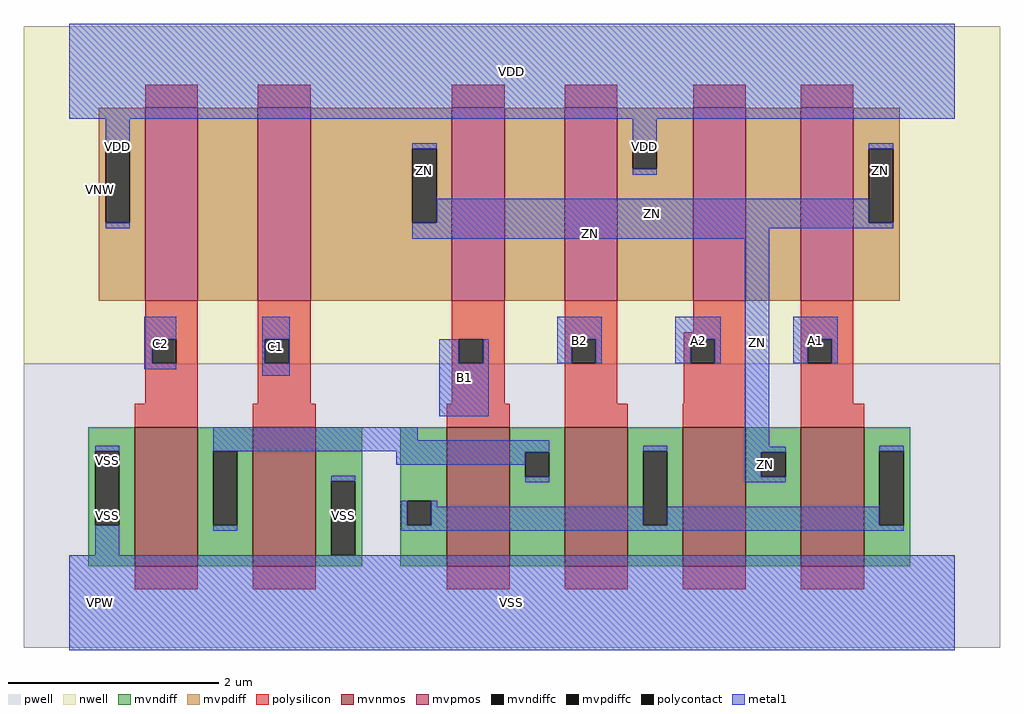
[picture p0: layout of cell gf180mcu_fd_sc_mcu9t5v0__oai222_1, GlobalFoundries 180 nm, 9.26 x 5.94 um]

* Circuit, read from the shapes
.subckt gf180mcu_fd_sc_mcu9t5v0__oai222_1 A1 A2 B1 B2 C1 C2 ZN VDD VNW VPW VSS
XM1 n1 C2 VSS VPW nfet_06v0 w=1.32u l=0.6u
XM2 VSS C1 n1 VPW nfet_06v0 w=1.32u l=0.6u
XM3 n1 B1 n2 VPW nfet_06v0 w=1.32u l=0.6u
XM4 n2 B2 n1 VPW nfet_06v0 w=1.32u l=0.6u
XM5 ZN A2 n2 VPW nfet_06v0 w=1.32u l=0.6u
XM6 n2 A1 ZN VPW nfet_06v0 w=1.32u l=0.6u
XM7 n3 C2 VDD VNW pfet_06v0 w=1.83u l=0.5u
XM8 ZN C1 n3 VNW pfet_06v0 w=1.83u l=0.5u
XM9 n4 B1 ZN VNW pfet_06v0 w=1.83u l=0.5u
XM10 VDD B2 n4 VNW pfet_06v0 w=1.83u l=0.5u
XM11 n5 A2 VDD VNW pfet_06v0 w=1.83u l=0.5u
XM12 ZN A1 n5 VNW pfet_06v0 w=1.83u l=0.5u
.ends

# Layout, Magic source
magic
tech gf180mcuD
magscale 1 10
<< nwell >>
rect -86 453 1766 1094
<< pwell >>
rect -86 -86 1766 453
<< mvnmos >>
rect 124 69 244 333
rect 348 69 468 333
rect 716 69 836 333
rect 940 69 1060 333
rect 1164 69 1284 333
rect 1388 69 1508 333
<< mvpmos >>
rect 144 573 244 939
rect 358 573 458 939
rect 726 573 826 939
rect 940 573 1040 939
rect 1184 573 1284 939
rect 1388 573 1488 939
<< mvndiff >>
rect 36 287 124 333
rect 36 147 49 287
rect 95 147 124 287
rect 36 69 124 147
rect 244 287 348 333
rect 244 147 273 287
rect 319 147 348 287
rect 244 69 348 147
rect 468 230 556 333
rect 468 90 497 230
rect 543 90 556 230
rect 468 69 556 90
rect 628 193 716 333
rect 628 147 641 193
rect 687 147 716 193
rect 628 69 716 147
rect 836 285 940 333
rect 836 239 865 285
rect 911 239 940 285
rect 836 69 940 239
rect 1060 287 1164 333
rect 1060 147 1089 287
rect 1135 147 1164 287
rect 1060 69 1164 147
rect 1284 285 1388 333
rect 1284 239 1313 285
rect 1359 239 1388 285
rect 1284 69 1388 239
rect 1508 287 1596 333
rect 1508 147 1537 287
rect 1583 147 1596 287
rect 1508 69 1596 147
<< mvpdiff >>
rect 56 861 144 939
rect 56 721 69 861
rect 115 721 144 861
rect 56 573 144 721
rect 244 573 358 939
rect 458 861 726 939
rect 458 721 651 861
rect 697 721 726 861
rect 458 573 726 721
rect 826 573 940 939
rect 1040 869 1184 939
rect 1040 823 1069 869
rect 1115 823 1184 869
rect 1040 573 1184 823
rect 1284 573 1388 939
rect 1488 861 1576 939
rect 1488 721 1517 861
rect 1563 721 1576 861
rect 1488 573 1576 721
<< mvndiffc >>
rect 49 147 95 287
rect 273 147 319 287
rect 497 90 543 230
rect 641 147 687 193
rect 865 239 911 285
rect 1089 147 1135 287
rect 1313 239 1359 285
rect 1537 147 1583 287
<< mvpdiffc >>
rect 69 721 115 861
rect 651 721 697 861
rect 1069 823 1115 869
rect 1517 721 1563 861
<< polysilicon >>
rect 144 939 244 983
rect 358 939 458 983
rect 726 939 826 983
rect 940 939 1040 983
rect 1184 939 1284 983
rect 1388 939 1488 983
rect 144 500 244 573
rect 144 454 157 500
rect 203 454 244 500
rect 144 377 244 454
rect 358 500 458 573
rect 358 454 371 500
rect 417 454 458 500
rect 358 377 458 454
rect 726 500 826 573
rect 726 454 739 500
rect 785 454 826 500
rect 726 377 826 454
rect 940 500 1040 573
rect 1184 513 1284 573
rect 940 454 953 500
rect 999 454 1040 500
rect 940 377 1040 454
rect 1166 500 1284 513
rect 1166 454 1179 500
rect 1225 454 1284 500
rect 1166 377 1284 454
rect 124 333 244 377
rect 348 333 468 377
rect 716 333 836 377
rect 940 333 1060 377
rect 1164 333 1284 377
rect 1388 500 1488 573
rect 1388 454 1401 500
rect 1447 454 1488 500
rect 1388 377 1488 454
rect 1388 333 1508 377
rect 124 25 244 69
rect 348 25 468 69
rect 716 25 836 69
rect 940 25 1060 69
rect 1164 25 1284 69
rect 1388 25 1508 69
<< polycontact >>
rect 157 454 203 500
rect 371 454 417 500
rect 739 454 785 500
rect 953 454 999 500
rect 1179 454 1225 500
rect 1401 454 1447 500
<< metal1 >>
rect 0 918 1680 1098
rect 69 861 115 918
rect 69 710 115 721
rect 651 861 697 872
rect 1069 869 1115 918
rect 1069 812 1115 823
rect 1517 861 1563 872
rect 697 721 1517 766
rect 651 710 1563 721
rect 651 690 1328 710
rect 142 500 203 542
rect 142 454 157 500
rect 142 443 203 454
rect 366 500 418 542
rect 926 500 1010 542
rect 366 454 371 500
rect 417 454 418 500
rect 366 430 418 454
rect 702 454 739 500
rect 785 454 796 500
rect 926 454 953 500
rect 999 454 1010 500
rect 1150 500 1236 542
rect 1150 454 1179 500
rect 1225 454 1236 500
rect 702 354 796 454
rect 273 308 661 333
rect 49 287 95 298
rect 49 90 95 147
rect 273 287 911 308
rect 620 285 911 287
rect 620 262 865 285
rect 273 136 319 147
rect 497 230 543 241
rect 865 228 911 239
rect 1089 287 1135 298
rect 630 147 641 193
rect 687 182 698 193
rect 687 147 1089 182
rect 1282 296 1328 690
rect 1374 500 1458 542
rect 1374 454 1401 500
rect 1447 454 1458 500
rect 1282 285 1359 296
rect 1282 239 1313 285
rect 1282 228 1359 239
rect 1537 287 1583 298
rect 1135 147 1537 182
rect 630 136 1583 147
rect 0 -90 1680 90
<< labels >>
flabel metal1 s 1374 454 1458 542 0 FreeSans 200 0 0 0 A1
port 1 nsew default input
flabel metal1 s 1150 454 1236 542 0 FreeSans 200 0 0 0 A2
port 2 nsew default input
flabel metal1 s 702 354 796 500 0 FreeSans 200 0 0 0 B1
port 3 nsew default input
flabel metal1 s 926 454 1010 542 0 FreeSans 200 0 0 0 B2
port 4 nsew default input
flabel metal1 s 366 430 418 542 0 FreeSans 200 0 0 0 C1
port 5 nsew default input
flabel metal1 s 142 443 203 542 0 FreeSans 200 0 0 0 C2
port 6 nsew default input
flabel metal1 s 0 918 1680 1098 0 FreeSans 200 0 0 0 VDD
port 8 nsew power bidirectional abutment
flabel metal1 s 49 241 95 298 0 FreeSans 200 0 0 0 VSS
port 11 nsew ground bidirectional abutment
flabel metal1 s 1517 766 1563 872 0 FreeSans 200 0 0 0 ZN
port 7 nsew default output
flabel nwell s 10 734 110 834 0 FreeSans 400 0 0 0 VNW
port 9 nsew power bidirectional
flabel pwell s 10 -50 110 50 0 FreeSans 400 0 0 0 VPW
port 10 nsew ground bidirectional
rlabel metal1 s 651 766 697 872 1 ZN
port 7 nsew default output
rlabel metal1 s 651 710 1563 766 1 ZN
port 7 nsew default output
rlabel metal1 s 651 690 1328 710 1 ZN
port 7 nsew default output
rlabel metal1 s 1282 296 1328 690 1 ZN
port 7 nsew default output
rlabel metal1 s 1282 228 1359 296 1 ZN
port 7 nsew default output
rlabel metal1 s 1069 812 1115 918 1 VDD
port 8 nsew power bidirectional abutment
rlabel metal1 s 69 812 115 918 1 VDD
port 8 nsew power bidirectional abutment
rlabel metal1 s 69 710 115 812 1 VDD
port 8 nsew power bidirectional abutment
rlabel metal1 s 497 90 543 241 1 VSS
port 11 nsew ground bidirectional abutment
rlabel metal1 s 49 90 95 241 1 VSS
port 11 nsew ground bidirectional abutment
rlabel metal1 s 0 -90 1680 90 1 VSS
port 11 nsew ground bidirectional abutment
<< properties >>
string FIXED_BBOX 0 0 1680 1008
string GDS_END 245364
string GDS_FILE $PDKPATH/libs.ref/gf180mcu_fd_sc_mcu9t5v0/gds/gf180mcu_fd_sc_mcu9t5v0.gds
string GDS_START 240472
string LEFclass core
string LEFsite GF018hv5v_green_sc9
string LEFsymmetry X Y
<< end >>
